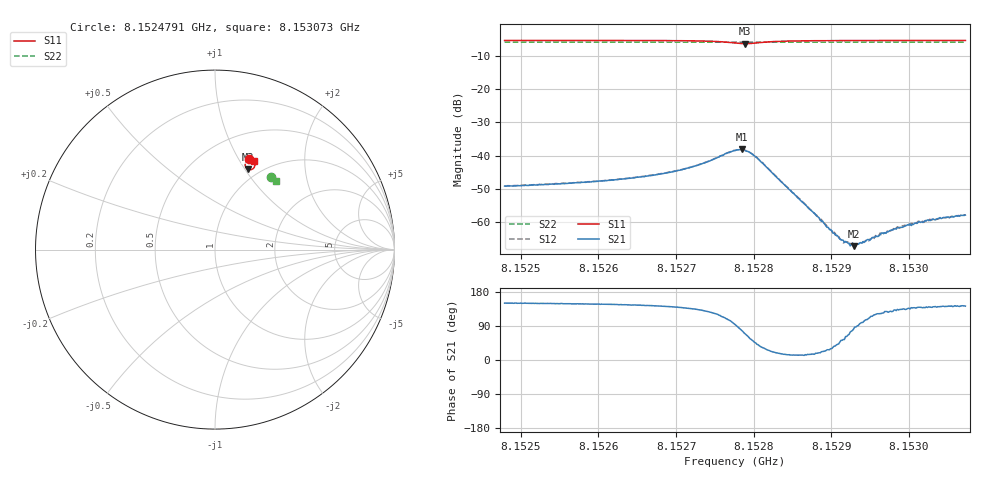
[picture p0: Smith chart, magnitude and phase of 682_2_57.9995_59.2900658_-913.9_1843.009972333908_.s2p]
#  HZ  S  RI  R  50.00
! Rohde & Schwarz Vector Network Analyzer
! Rohde-Schwarz,ZNB20-2Port,1311601062101988,3.16
! Created: UTC 3/21/2024, 1:20:54 AM
! freq[Hz]  re:S11  im:S11  re:S21  im:S21  re:S12  im:S12  re:S22  im:S22
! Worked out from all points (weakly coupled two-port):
!   401 points, 8.1524791 GHz to 8.153073 GHz, reference 50 ohm
!   highest |S21| = -38.14 dB at 8.1527849 GHz (marker M1); lowest = -67.2 dB at 8.1529289 GHz (marker M2)
!   lowest |S11| = -6.3 dB at 8.1527894 GHz (marker M3), VSWR 2.87, Z = 44.2 + j51.6 ohm
!   |S11| at or under -10 dB: nowhere
!   |S22| runs from -5.9 to -5.8 dB; largest |S21 - S12| = 0.00038
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8.15247908e9  0.1898 0.5063  -0.00302 0.00174  -0.00304 0.00178  0.3103 0.4063
8.15257855e9  0.1985 0.5027  -0.00337 0.0021  -0.00338 0.00216  0.3151 0.4023
8.15263052e9  0.2038 0.4999  -0.00368 0.0025  -0.00367 0.00254  0.3178 0.4001
8.15267803e9  0.21 0.4959  -0.00417 0.0032  -0.00413 0.00331  0.3203 0.398
8.15272554e9  0.2183 0.4867  -0.00488 0.00508  -0.00486 0.00517  0.3226 0.3957
8.15277602e9  0.2087 0.4485  -0.000838 0.0119  -0.000745 0.012  0.324 0.3925
8.15278493e9  0.1927 0.445  0.00267 0.0121  0.00281 0.012  0.3238 0.3922
8.15278938e9  0.1839 0.4472  0.00433 0.011  0.0045 0.0111  0.3238 0.3923
8.15279532e9  0.1745 0.4542  0.00616 0.00924  0.00625 0.00927  0.3236 0.3924
8.15280423e9  0.1683 0.4681  0.00702 0.00622  0.00702 0.00613  0.3241 0.3927
8.15282947e9  0.1767 0.492  0.0045 0.00154  0.00459 0.00151  0.3259 0.3924
8.15287549e9  0.1935 0.4995  0.0014 0.000392  0.00144 0.000379  0.3287 0.3907
8.15289479e9  0.1976 0.4996  0.000742 0.000379  0.000778 0.000363  0.3298 0.3897
8.15291409e9  0.2011 0.4995  0.000331 0.000424  0.00033 0.000414  0.3307 0.3888
8.152923e9  0.2024 0.4992  0.000185 0.000445  0.000149 0.000439  0.3313 0.3887
8.15292894e9  0.2032 0.4992  6.03e-05 0.00043  5.51e-05 0.000461  0.3317 0.3882
8.15293785e9  0.2045 0.4988  -6.33e-05 0.000488  -3.45e-05 0.00047  0.3321 0.388
8.15297497e9  0.209 0.4979  -0.00045 0.000588  -0.000468 0.000567  0.334 0.3863
8.15299872e9  0.2114 0.4973  -0.000656 0.000637  -0.000648 0.000675  0.335 0.3854
8.15301505e9  0.2131 0.4968  -0.000745 0.00065  -0.000752 0.000677  0.3358 0.3847
8.15304178e9  0.2154 0.496  -0.00088 0.000712  -0.000918 0.000729  0.3371 0.3834
8.15307296e9  0.2181 0.4951  -0.00101 0.000782  -0.000998 0.000794  0.3385 0.382
